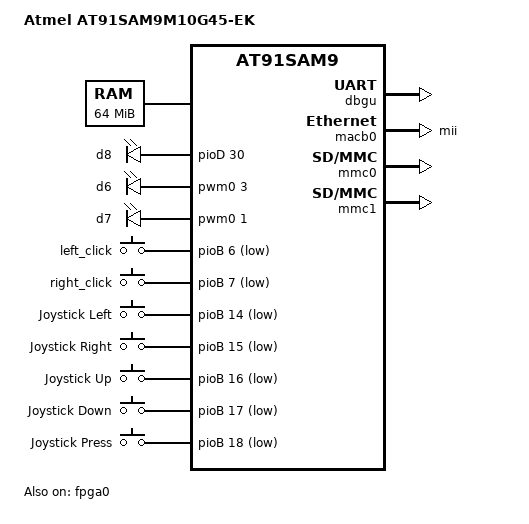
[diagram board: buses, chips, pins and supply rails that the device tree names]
/*
 * at91sam9m10g45ek.dts - Device Tree file for AT91SAM9M10G45-EK board
 *
 *  Copyright (C) 2011 Atmel,
 *                2011 Nicolas Ferre <nicolas.ferre@atmel.com>
 *
 * Licensed under GPLv2 or later.
 */
/dts-v1/;
#include "at91sam9g45.dtsi"
#include <dt-bindings/pwm/pwm.h>

/ {
	model = "Atmel AT91SAM9M10G45-EK";
	compatible = "atmel,at91sam9m10g45ek", "atmel,at91sam9g45", "atmel,at91sam9" ;

	chosen {
		bootargs = "mem=64M console=ttyS0,115200 root=/dev/mtdblock1 rw rootfstype=jffs2";
	};

	memory {
		reg = <0x70000000 0x4000000>;
	};

	clocks {
		#address-cells = <1>;
		#size-cells = <1>;
		ranges;

		main_clock: clock@0 {
			compatible = "atmel,osc", "fixed-clock";
			clock-frequency = <12000000>;
		};
	};

	ahb {
		apb {
			dbgu: serial@ffffee00 {
				status = "okay";
			};

			usart1: serial@fff90000 {
				pinctrl-0 =
					<&pinctrl_usart1
					 &pinctrl_usart1_rts
					 &pinctrl_usart1_cts>;
				status = "disabled";
			};

			macb0: ethernet@fffbc000 {
				phy-mode = "mii";
				status = "okay";
			};

			i2c0: i2c@fff84000 {
				status = "disabled";
			};

			i2c1: i2c@fff88000 {
				status = "disabled";
			};

			watchdog@fffffd40 {
				status = "disabled";
			};

			fpga0: fpga@1000000 {
				compatible = "sk,at91-xc6slx";
				pinctrl-0 = <&pinctrl_clk_fpga0>;
				reg = <0x10000000 0x20000000>;
				reg-names = "fpga_mem";
				clock_divider = <0>;
				status = "okay";
			};

			/*X21*/
			mmc0: mmc@fff80000 {
				pinctrl-0 = <
					&pinctrl_board_mmc0
					&pinctrl_mmc0_clk_cmd_dat0
					&pinctrl_mmc0_dat1_dat3>;
				status = "okay";
				slot@0 {
					reg = <0>;
					bus-width = <4>;
					cd-gpios = <&pioD 10 GPIO_ACTIVE_HIGH>;
				};
			};

			/*X9*/
			mmc1: mmc@fffd0000 {
				pinctrl-0 = <
					&pinctrl_board_mmc1
					&pinctrl_mmc1_clk_cmd_dat0
					&pinctrl_mmc1_dat1_dat3>;
				status = "okay";
				slot@0 {
					reg = <0>;
					bus-width = <4>;
					cd-gpios = <&pioD 5 GPIO_ACTIVE_HIGH>;
				};
			};

			pinctrl@fffff200 {
				mmc1 {
					pinctrl_board_mmc1: mmc1-board {
						atmel,pins =
							<AT91_PIOD 5 AT91_PERIPH_GPIO AT91_PINCTRL_PULL_UP_DEGLITCH>;	/* PD10 gpio CD pin pull up and deglitch */
					};

					pinctrl_mmc1_clk_cmd_dat0: mmc1_clk_cmd_dat0-0 {
						atmel,pins =
							<AT91_PIOA 31 AT91_PERIPH_A AT91_PINCTRL_NONE /*clk pin*/
							AT91_PIOA 22 AT91_PERIPH_A AT91_PINCTRL_PULL_UP /*cmd pin*/
							AT91_PIOA 23 AT91_PERIPH_A AT91_PINCTRL_PULL_UP>; /*Dat 0 pin*/
					};
					pinctrl_mmc1_dat1_dat3: mmc1_dat1_dat3-0 {
						atmel,pins =
							<AT91_PIOA 24 AT91_PERIPH_A AT91_PINCTRL_PULL_UP	/*Dat 1 pin*/
							AT91_PIOA 25 AT91_PERIPH_A AT91_PINCTRL_PULL_UP	/*Dat 2 pin*/
							AT91_PIOA 26 AT91_PERIPH_A AT91_PINCTRL_PULL_UP>;	/*Dat 3 pin*/
					};
				};

				mmc0 {
					pinctrl_board_mmc0: mmc0-board {
						atmel,pins =
							<AT91_PIOD 10 AT91_PERIPH_GPIO AT91_PINCTRL_PULL_UP_DEGLITCH>;	/* PD11 gpio CD pin pull up and deglitch */
					};

					pinctrl_mmc0_clk_cmd_dat0: mmc0_clk_cmd_dat1-0 {
						atmel,pins =
							<AT91_PIOA 0 AT91_PERIPH_A AT91_PINCTRL_NONE
							AT91_PIOA 1 AT91_PERIPH_A AT91_PINCTRL_PULL_UP
							AT91_PIOA 2 AT91_PERIPH_A AT91_PINCTRL_PULL_UP>;
					};

					pinctrl_mmc0_dat1_dat3: mmc0_dat1_dat3-0 {
						atmel,pins =
							<AT91_PIOA 3 AT91_PERIPH_A AT91_PINCTRL_PULL_UP	/*Dat 1 pin*/
							AT91_PIOA 4 AT91_PERIPH_A AT91_PINCTRL_PULL_UP	/*Dat 2 pin*/
							AT91_PIOA 5 AT91_PERIPH_A AT91_PINCTRL_PULL_UP>;	/*Dat 3 pin*/
					};
				};

				pwm0 {
					pinctrl_pwm_leds: pwm-led {
						atmel,pins =
							<AT91_PIOD 0  AT91_PERIPH_B AT91_PINCTRL_PULL_UP	/* PD0 periph B */
							 AT91_PIOD 31 AT91_PERIPH_B AT91_PINCTRL_PULL_UP>;	/* PD31 periph B */
					};
				};

				fpga0 {
					pinctrl_clk_fpga0: clk_fpga0 {
						atmel,pins =
							<AT91_PIOE 0  AT91_PERIPH_B AT91_PINCTRL_NONE>;	
					};
				};

/*				fpga0 {
					pinctl_clk_fpga0: clk_fpga0 {
						atmel,pins =
							<AT91_PIOE 0  AT91_PERIPH_B AT91_PINCTL_NONE>;
					};
				};
*/			};

			spi0: spi@fffa4000{
				status = "disabled";
				cs-gpios = <&pioB 3 0>, <0>, <0>, <0>;
				mtd_dataflash@0 {
					compatible = "atmel,at45", "atmel,dataflash";
					spi-max-frequency = <13000000>;
					reg = <0>;
				};
			};

			usb2: gadget@fff78000 {
				atmel,vbus-gpio = <&pioB 19 GPIO_ACTIVE_HIGH>;
				status = "disabled";
			};

			adc0: adc@fffb0000 {
				pinctrl-names = "default";
				pinctrl-0 = <
					&pinctrl_adc0_ad0
					&pinctrl_adc0_ad1
					&pinctrl_adc0_ad2
					&pinctrl_adc0_ad3
					&pinctrl_adc0_ad4
					&pinctrl_adc0_ad5
					&pinctrl_adc0_ad6
					&pinctrl_adc0_ad7>;
				atmel,adc-ts-wires = <4>;
				status = "disabled";
			};

			pwm0: pwm@fffb8000 {
				status = "disabled";

				pinctrl-names = "default";
				pinctrl-0 = <&pinctrl_pwm_leds>;
			};
		};

		fb0: fb@0x00500000 {
			display = <&display0>;
			status = "disabled";

			display0: display {
				bits-per-pixel = <32>;
				atmel,lcdcon-backlight;
				atmel,dmacon = <0x1>;
				atmel,lcdcon2 = <0x80008002>;
				atmel,guard-time = <9>;
				atmel,lcd-wiring-mode = "RGB";

				display-timings {
					native-mode = <&timing0>;
					timing0: timing0 {
						clock-frequency = <9000000>;
						hactive = <480>;
						vactive = <272>;
						hback-porch = <1>;
						hfront-porch = <1>;
						vback-porch = <40>;
						vfront-porch = <1>;
						hsync-len = <45>;
						vsync-len = <1>;
					};
				};
			};
		};

		nand0: nand@40000000 {
			nand-bus-width = <8>;
			nand-ecc-mode = "soft";
			nand-on-flash-bbt;
			status = "disabled";

			boot@0 {
				label = "bootstrap/uboot/kernel";
				reg = <0x0 0x400000>;
			};

			rootfs@400000 {
				label = "rootfs";
				reg = <0x400000 0x3C00000>;
			};

			data@4000000 {
				label = "data";
				reg = <0x4000000 0xC000000>;
			};
		};

		usb0: ohci@00700000 {
			status = "disabled";
			num-ports = <2>;
			atmel,vbus-gpio = <&pioD 1 GPIO_ACTIVE_LOW
					   &pioD 3 GPIO_ACTIVE_LOW>;
		};

		usb1: ehci@00800000 {
			status = "disabled";
		};
	};

	leds {
		compatible = "gpio-leds";

		d8 {
			label = "d8";
			gpios = <&pioD 30 GPIO_ACTIVE_HIGH>;
			linux,default-trigger = "heartbeat";
		};
	};

	pwmleds {
		compatible = "pwm-leds";

		d6 {
			label = "d6";
			pwms = <&pwm0 3 5000 PWM_POLARITY_INVERTED>;
			max-brightness = <255>;
			linux,default-trigger = "nand-disk";
		};

		d7 {
			label = "d7";
			pwms = <&pwm0 1 5000 PWM_POLARITY_INVERTED>;
			max-brightness = <255>;
			linux,default-trigger = "mmc0";
		};
	};

	gpio_keys {
		compatible = "gpio-keys";

		left_click {
			label = "left_click";
			gpios = <&pioB 6 GPIO_ACTIVE_LOW>;
			linux,code = <272>;
			gpio-key,wakeup;
		};

		right_click {
			label = "right_click";
			gpios = <&pioB 7 GPIO_ACTIVE_LOW>;
			linux,code = <273>;
			gpio-key,wakeup;
		};

		left {
			label = "Joystick Left";
			gpios = <&pioB 14 GPIO_ACTIVE_LOW>;
			linux,code = <105>;
		};

		right {
			label = "Joystick Right";
			gpios = <&pioB 15 GPIO_ACTIVE_LOW>;
			linux,code = <106>;
		};

		up {
			label = "Joystick Up";
			gpios = <&pioB 16 GPIO_ACTIVE_LOW>;
			linux,code = <103>;
		};

		down {
			label = "Joystick Down";
			gpios = <&pioB 17 GPIO_ACTIVE_LOW>;
			linux,code = <108>;
		};

		enter {
			label = "Joystick Press";
			gpios = <&pioB 18 GPIO_ACTIVE_LOW>;
			linux,code = <28>;
		};
	};
};
